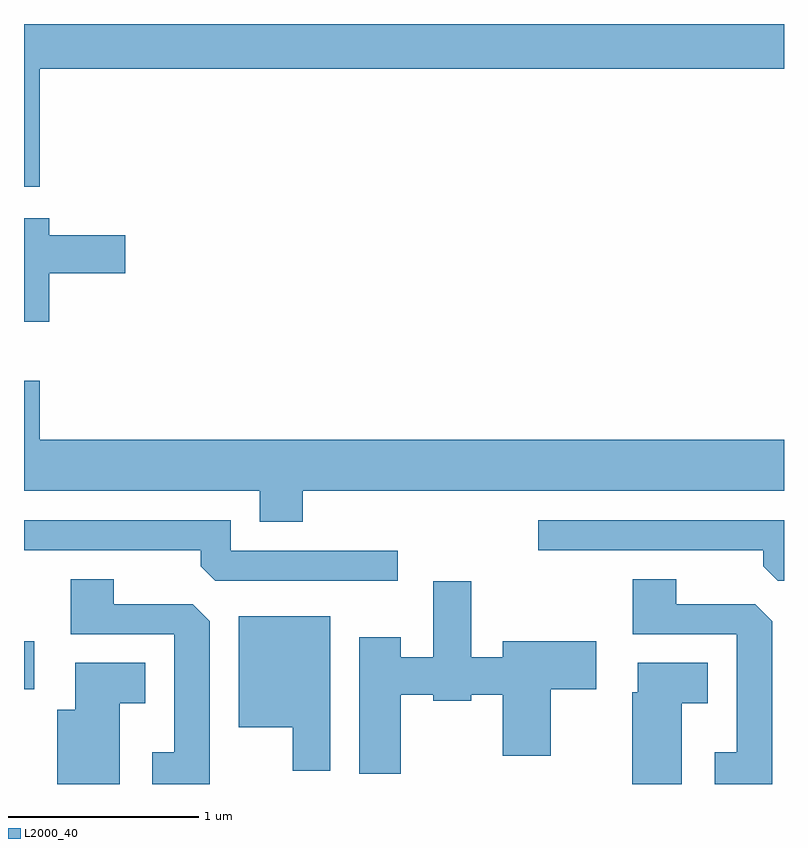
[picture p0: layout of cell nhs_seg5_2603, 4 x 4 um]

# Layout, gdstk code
import gdstk
lib = gdstk.Library(unit=1e-6, precision=1e-09)
def R(c, l, rs):  # rectangles x0, y0, x1, y1
    for r in rs: c.add(gdstk.rectangle(r[:2], r[2:], *l))
def P(c, l, *ps):  # polygons
    for p in ps: c.add(gdstk.Polygon(p, *l))
L2000_40 = (2000, 40)

nhs_seg5_2603 = lib.new_cell('nhs_seg5_2603')
R(nhs_seg5_2603, L2000_40, [(261.611,1524.571,261.664,1524.824)])
P(nhs_seg5_2603, L2000_40, [(261.694,1527.836),(265.611,1527.836),(265.611,1528.072),(261.611,1528.072),(261.611,1527.216),(261.694,1527.216)],
  [(261.744,1526.761),(262.144,1526.761),(262.144,1526.959),(261.744,1526.959),(261.744,1527.049),(261.611,1527.049),(261.611,1526.506),(261.744,1526.506)],
  [(263.079,1525.616),(265.611,1525.616),(265.611,1525.884),(261.694,1525.884),(261.694,1526.194),(261.611,1526.194),(261.611,1525.616),(262.851,1525.616),(262.851,1525.451),(263.079,1525.451)],
  [(265.611,1525.459),(264.318,1525.459),(264.318,1525.301),(265.501,1525.301),(265.501,1525.217),(265.577,1525.141),(265.611,1525.141)],
  [(263.578,1525.299),(262.699,1525.299),(262.699,1525.459),(261.611,1525.459),(261.611,1525.301),(262.541,1525.301),(262.541,1525.217),(262.617,1525.141),(263.578,1525.141)],
  [(265.549,1524.929),(265.459,1525.019),(265.044,1525.019),(265.044,1525.149),(264.816,1525.149),(264.816,1524.861),(265.361,1524.861),(265.361,1524.239),(265.246,1524.239),(265.246,1524.072),(265.549,1524.072)],
  [(262.589,1524.929),(262.499,1525.019),(262.084,1525.019),(262.084,1525.149),(261.856,1525.149),(261.856,1524.861),(262.401,1524.861),(262.401,1524.239),(262.286,1524.239),(262.286,1524.072),(262.589,1524.072)],
  [(263.594,1524.541),(263.766,1524.541),(263.766,1524.511),(263.964,1524.511),(263.964,1524.541),(264.131,1524.541),(264.131,1524.221),(264.384,1524.221),(264.384,1524.571),(264.624,1524.571),(264.624,1524.824),(264.131,1524.824),(264.131,1524.739),(263.964,1524.739),(263.964,1525.139),(263.766,1525.139),(263.766,1524.739),(263.594,1524.739),(263.594,1524.844),(263.376,1524.844),(263.376,1524.126),(263.594,1524.126)],
  [(263.224,1524.954),(262.741,1524.954),(262.741,1524.371),(263.026,1524.371),(263.026,1524.141),(263.224,1524.141)],
  [(262.114,1524.496),(262.249,1524.496),(262.249,1524.709),(261.881,1524.709),(261.881,1524.464),(261.786,1524.464),(261.786,1524.072),(262.114,1524.072)],
  [(265.074,1524.496),(265.209,1524.496),(265.209,1524.709),(264.841,1524.709),(264.841,1524.554),(264.811,1524.554),(264.811,1524.072),(265.074,1524.072)])

lib.write_gds('nhs_seg5_2603.gds')
